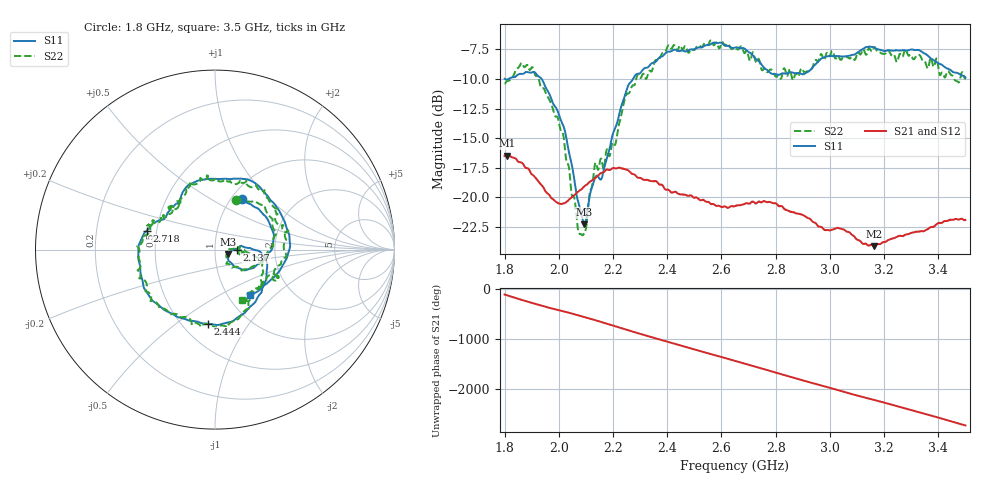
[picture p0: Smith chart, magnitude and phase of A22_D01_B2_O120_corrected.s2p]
! Created with skrf 1.9.0 (http://scikit-rf.org).
# Hz S RI R 50.0
!freq ReS11 ImS11 ReS21 ImS21 ReS12 ImS12 ReS22 ImS22
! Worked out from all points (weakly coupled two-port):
!   1601 points, 1.8 GHz to 3.5 GHz, reference 50 ohm
!   highest |S21| = -16.47 dB at 1.811 GHz (marker M1); lowest = -24.1 dB at 3.163 GHz (marker M2)
!   lowest |S11| = -22.3 dB at 2.094 GHz (marker M3), VSWR 1.17, Z = 57.8 - j2.86 ohm
!   |S11| at or under -10 dB: 1.801 GHz to 1.815 GHz (13.79 MHz wide, 0.763 % of centre); 1.937 GHz to 2.274 GHz (337.1 MHz wide, 16 % of centre)
!   |S22| runs from -23.2 to -6.7 dB; largest |S21 - S12| = 0.0029
!   S11 on the Smith chart (normalised r, x): 1.8 GHz: 1.12, +0.70; 2.137 GHz: 1.28, -0.00; 2.444 GHz: 0.66, -0.66; 2.718 GHz: 0.44, +0.11; 3.5 GHz: 1.26, -0.72
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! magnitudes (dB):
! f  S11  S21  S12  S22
! 1.8 GHz  -10.0  -16.5  -16.5  -10.4
! 1.811 GHz  -10.0  -16.5  -16.5  -10.2
! 1.882 GHz  -9.4  -17.5  -17.6  -8.8
! 1.966 GHz  -11.3  -19.8  -19.9  -11.8
! 2.021 GHz  -14.3  -20.5  -20.5  -15.6
! 2.072 GHz  -20.4  -19.5  -19.5  -22.8
! 2.084 GHz  -21.4  -19.3  -19.3  -23.1
! 2.094 GHz  -22.3  -19.1  -19.1  -23.0
! 2.137 GHz  -18.2  -18.3  -18.3  -17.1
! 2.16 GHz  -18.3  -17.9  -17.9  -17.1
! 2.208 GHz  -14.1  -17.5  -17.5  -15.5
! 2.258 GHz  -10.5  -17.7  -17.8  -11.2
! 2.367 GHz  -8.3  -18.8  -18.8  -8.5
! 2.444 GHz  -7.7  -19.7  -19.7  -7.3
! 2.65 GHz  -7.4  -20.7  -20.7  -7.4
! 2.718 GHz  -8.1  -20.4  -20.3  -7.8
! 2.813 GHz  -9.6  -20.7  -20.6  -9.8
! 2.934 GHz  -9.1  -22.0  -22.0  -9.1
! 3.163 GHz  -7.3  -24.1  -24.1  -7.3
! 3.217 GHz  -7.6  -23.6  -23.6  -7.6
! 3.329 GHz  -7.6  -22.9  -22.9  -8.0
! 3.5 GHz  -9.9  -21.9  -21.9  -9.9
